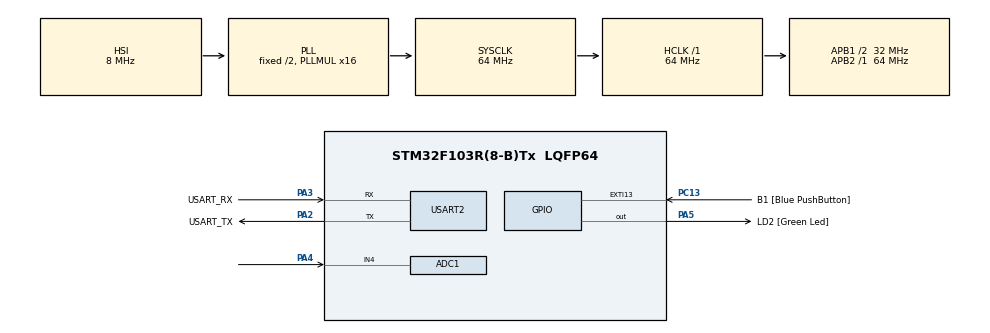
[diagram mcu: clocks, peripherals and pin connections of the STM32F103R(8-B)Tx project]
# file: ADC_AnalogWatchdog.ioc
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ADC1.AWD1HighThreshold=2559
ADC1.AWD1ITMode=ENABLE
ADC1.AWD1LowThreshold=512
ADC1.Channel-0\#ChannelRegularConversion=ADC_CHANNEL_4
ADC1.ContinuousConvMode=DISABLE
ADC1.EnableAnalogWatchDog=true
ADC1.ExternalTrigConv=ADC_EXTERNALTRIGCONV_T3_TRGO
ADC1.NbrOfConversionFlag=1
ADC1.Rank-0\#ChannelRegularConversion=1
ADC1.SamplingTime-0\#ChannelRegularConversion=ADC_SAMPLETIME_41CYCLES_5
ADC1.WatchdogMode=ADC_ANALOGWATCHDOG_ALL_REG
ADC1.master=1
Dma.ADC1.0.Direction=DMA_PERIPH_TO_MEMORY
Dma.ADC1.0.Instance=DMA1_Channel1
Dma.ADC1.0.MemDataAlignment=DMA_MDATAALIGN_HALFWORD
Dma.ADC1.0.MemInc=DMA_MINC_ENABLE
Dma.ADC1.0.Mode=DMA_CIRCULAR
Dma.ADC1.0.PeriphDataAlignment=DMA_PDATAALIGN_HALFWORD
Dma.ADC1.0.PeriphInc=DMA_PINC_DISABLE
Dma.ADC1.0.Priority=DMA_PRIORITY_HIGH
Dma.Request0=ADC1
Mcu.Family=STM32F1
Mcu.Name=STM32F103R(8-B)Tx
Mcu.Package=LQFP64
NVIC.ADC1_2_IRQn=true\:0\:0\:false\:false\:true\:true\:true\:true
NVIC.DMA1_Channel1_IRQn=true\:1\:0\:true\:false\:true\:false\:true\:true
NVIC.EXTI15_10_IRQn=true\:15\:0\:true\:false\:true\:true\:true\:true
NVIC.PriorityGroup=NVIC_PRIORITYGROUP_4
PA13.GPIO_Label=TMS
PA13.Mode=Serial_Wire
PA13.Signal=SYS_JTMS-SWDIO
PA14.GPIO_Label=TCK
PA14.Mode=Serial_Wire
PA14.Signal=SYS_JTCK-SWCLK
PA2.GPIO_Label=USART_TX
PA2.GPIO_Mode=GPIO_MODE_AF_PP
PA2.GPIO_PuPd=GPIO_NOPULL
PA2.GPIO_Speed=GPIO_SPEED_FREQ_LOW
PA2.Mode=Asynchronous
PA2.Signal=USART2_TX
PA3.GPIO_Label=USART_RX
PA3.GPIO_Mode=GPIO_MODE_AF_PP
PA3.GPIO_PuPd=GPIO_NOPULL
PA3.GPIO_Speed=GPIO_SPEED_FREQ_LOW
PA3.Mode=Asynchronous
PA3.Signal=USART2_RX
PA4.Signal=ADCx_IN4
PA5.GPIO_Label=LD2 [Green Led]
PA5.GPIO_ModeDefaultOutputPP=GPIO_MODE_OUTPUT_PP
PA5.GPIO_PuPd=GPIO_NOPULL
PA5.GPIO_Speed=GPIO_SPEED_FREQ_LOW
PA5.Signal=GPIO_Output
PB3.GPIO_Label=SWO
PB3.Signal=SYS_JTDO-TRACESWO
PC13-TAMPER-RTC.GPIO_Label=B1 [Blue PushButton]
PC13-TAMPER-RTC.GPIO_ModeDefaultEXTI=GPIO_MODE_IT_FALLING
PC13-TAMPER-RTC.GPIO_PuPd=GPIO_NOPULL
PC13-TAMPER-RTC.Signal=GPXTI13
PC14-OSC32_IN.Mode=LSE-External-Oscillator
PC14-OSC32_IN.Signal=RCC_OSC32_IN
PC15-OSC32_OUT.Mode=LSE-External-Oscillator
PC15-OSC32_OUT.Signal=RCC_OSC32_OUT
PD0-OSC_IN.Mode=HSE-External-Clock-Source
PD0-OSC_IN.Signal=RCC_OSC_IN
PD1-OSC_OUT.Mode=HSE-External-Clock-Source
PD1-OSC_OUT.Signal=RCC_OSC_OUT
ProjectManager.HeapSize=0x200
ProjectManager.StackSize=0x400
ProjectManager.TargetToolchain=STM32CubeIDE
RCC.ADCPresc=RCC_ADCPCLK2_DIV8
RCC.AHBFreq_Value=64000000
RCC.APB1CLKDivider=RCC_HCLK_DIV2
RCC.APB1Freq_Value=32000000
RCC.APB1TimFreq_Value=64000000
RCC.APB2Freq_Value=64000000
RCC.APB2TimFreq_Value=64000000
RCC.HCLKFreq_Value=64000000
RCC.PLLMUL=RCC_PLL_MUL16
RCC.RTCClockSelection=RCC_RTCCLKSOURCE_LSE
RCC.SYSCLKFreq_VALUE=64000000
RCC.SYSCLKSource=RCC_SYSCLKSOURCE_PLLCLK
RCC.USBFreq_Value=64000000
SH.ADCx_IN4.0=ADC1_IN4,IN4
TIM3.Period=999
TIM3.Prescaler=63
TIM3.TIM_MasterOutputTrigger=TIM_TRGO_UPDATE
TIM3.TIM_MasterSlaveMode=TIM_MASTERSLAVEMODE_DISABLE
USART2.VirtualMode=VM_ASYNC
VP_TIM3_VS_ClockSourceINT.Mode=Internal
board=NUCLEO-F103RB

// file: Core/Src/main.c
/* USER CODE BEGIN Header */
/**
  ******************************************************************************
  * @file           : main.c
  * @brief          : Main program body
  ******************************************************************************
  * @attention
  *
  * Copyright (c) 2022 STMicroelectronics.
  * All rights reserved.
  *
  * This software is licensed under terms that can be found in the LICENSE file
  * in the root directory of this software component.
  * If no LICENSE file comes with this software, it is provided AS-IS.
  *
  ******************************************************************************
  */
/* USER CODE END Header */
#include "main.h"

/* USER CODE BEGIN Includes */
#include <stdio.h>
/* USER CODE END Includes */

/* USER CODE BEGIN PD */
#define RANGE_12BITS                   ((uint32_t) 4095)    /* Max value with a full range of 12 bits */
#define USERBUTTON_CLICK_COUNT_MAX     ((uint32_t)    4)    /* Maximum value of variable "UserButtonClickCount" */

#define ADCCONVERTEDVALUES_BUFFER_SIZE ((uint32_t) 256)     /* Size of array containing ADC converted values */

#define TIMER_FREQUENCY                ((uint32_t) 1000)    /* Timer frequency (unit: Hz). With a timer 16 bits and time base freq min 1Hz, range is min=1Hz, max=32kHz. */
#define TIMER_FREQUENCY_RANGE_MIN      ((uint32_t)    1)    /* Timer minimum frequency (unit: Hz). With a timer 16 bits, maximum frequency will be 32000 times this value. */
#define TIMER_PRESCALER_MAX_VALUE      (0xFFFF-1)           /* Timer prescaler maximum value (0xFFFF for a timer 16 bits) */
/* USER CODE END PD */

ADC_HandleTypeDef hadc1;
DMA_HandleTypeDef hdma_adc1;

TIM_HandleTypeDef htim3;

UART_HandleTypeDef huart2;

/* USER CODE BEGIN PV */
/* Note: This example, on some other STM32 boards, is performing              */
/*       DAC handler declaration here.                                        */
/*       On STM32F103RB-Nucleo, the device has no DAC available,              */
/*       therefore analog signal must be supplied externally.                 */

/* Variable containing ADC conversions results */
__IO uint16_t   aADCxConvertedValues[ADCCONVERTEDVALUES_BUFFER_SIZE];

/* Variable to report ADC analog watchdog status:   */
/*   RESET <=> voltage into AWD window   */
/*   SET   <=> voltage out of AWD window */
uint8_t         ubAnalogWatchdogStatus = RESET;  /* Set into analog watchdog interrupt callback */

/* Variables to manage push button on board: interface between ExtLine interruption and main program */
__IO uint8_t    ubUserButtonClickEvent = RESET;  /* Event detection: Set after User Button interrupt */

/* USER CODE END PV */

void SystemClock_Config(void);
static void MX_GPIO_Init(void);
static void MX_DMA_Init(void);
static void MX_USART2_UART_Init(void);
static void MX_ADC1_Init(void);
static void MX_TIM3_Init(void);

/* USER CODE BEGIN 0 */
#ifdef __GNUC__
#define PUTCHAR_PROTOTYPE int __io_putchar(int ch)
#else
#define PUTCHAR_PROTOTYPE int fputc(int ch, FILE *f)
#endif /* __GNUC__ */

/**
* @brief  Retargets the C library printf function to the USART.
* @param  None
* @retval None
*/
PUTCHAR_PROTOTYPE
{
  /* Place your implementation of fputc here */
  /* e.g. write a character to the UART2 and Loop until the end of transmission */
  if (ch == '\n')
    HAL_UART_Transmit (&huart2, (uint8_t *) "\r", 1, 0xFFFF);

  HAL_UART_Transmit (&huart2, (uint8_t *) & ch, 1, 0xFFFF);

  return ch;
}
/* USER CODE END 0 */

int main(void)
{

  /* MCU Configuration--------------------------------------------------------*/

  /* Reset of all peripherals, Initializes the Flash interface and the Systick. */
  HAL_Init();

  /* Configure the system clock */
  SystemClock_Config();

  /* Initialize all configured peripherals */
  MX_GPIO_Init();
  MX_DMA_Init();
  MX_USART2_UART_Init();
  MX_ADC1_Init();
  MX_TIM3_Init();
  /* USER CODE BEGIN 2 */
  /* Run the ADC calibration */
  if (HAL_ADCEx_Calibration_Start(&hadc1) != HAL_OK)
  {
    /* Calibration Error */
    Error_Handler();
  }

  /* Timer enable */
  if (HAL_TIM_Base_Start(&htim3) != HAL_OK)
  {
    /* Counter Enable Error */
    Error_Handler();
  }

  /* Note: This example, on some other STM32 boards, is performing            */
  /*       DAC signal generation here.                                        */
  /*       On STM32F103RB-Nucleo, the device has no DAC available,            */
  /*       therefore analog signal must be supplied externally.               */

  /*## Start ADC conversions #################################################*/

  /* Start ADC conversion on regular group with transfer by DMA */
  if (HAL_ADC_Start_DMA(&hadc1,
                        (uint32_t *)aADCxConvertedValues,
                        ADCCONVERTEDVALUES_BUFFER_SIZE
  ) != HAL_OK)
  {
    /* Start Error */
    Error_Handler();
  }

  /* USER CODE END 2 */

  /* Infinite loop */
  /* USER CODE BEGIN WHILE */
  while (1)
  {
    /* Turn-on/off LED2 in function of ADC conversion result */
    /*  - Turn-off if voltage is into AWD window */
    /*  - Turn-on if voltage is out of AWD window */

    /* Variable of analog watchdog status is set into analog watchdog         */
    /* interrupt callback                                                     */
    if (ubAnalogWatchdogStatus == RESET)
    {
      HAL_GPIO_WritePin(LD2_GPIO_Port, LD2_Pin, GPIO_PIN_RESET);
    }
    else
    {
      HAL_GPIO_WritePin(LD2_GPIO_Port, LD2_Pin, GPIO_PIN_SET);

      printf("ADC=%d\n", HAL_ADC_GetValue(&hadc1));
      /* Reset analog watchdog status for next loop iteration */
      ubAnalogWatchdogStatus = RESET;
    }

    /* For information: ADC conversion results are stored into array          */
    /* "aADCxConvertedValues" (for debug: check into watch window)            */

    /* Wait for event on push button to perform following actions */
    while ((ubUserButtonClickEvent) == RESET)
    {
    }
    /* Reset variable for next loop iteration */
    ubUserButtonClickEvent = RESET;

    printf("ADC=%d\n", HAL_ADC_GetValue(&hadc1));

    /* USER CODE END WHILE */

  }
}

void SystemClock_Config(void)
{
  RCC_OscInitTypeDef RCC_OscInitStruct = {0};
  RCC_ClkInitTypeDef RCC_ClkInitStruct = {0};
  RCC_PeriphCLKInitTypeDef PeriphClkInit = {0};

  /** Initializes the RCC Oscillators according to the specified parameters
  * in the RCC_OscInitTypeDef structure.
  */
  RCC_OscInitStruct.OscillatorType = RCC_OSCILLATORTYPE_HSI;
  RCC_OscInitStruct.HSIState = RCC_HSI_ON;
  RCC_OscInitStruct.HSICalibrationValue = RCC_HSICALIBRATION_DEFAULT;
  RCC_OscInitStruct.PLL.PLLState = RCC_PLL_ON;
  RCC_OscInitStruct.PLL.PLLSource = RCC_PLLSOURCE_HSI_DIV2;
  RCC_OscInitStruct.PLL.PLLMUL = RCC_PLL_MUL16;
  if (HAL_RCC_OscConfig(&RCC_OscInitStruct) != HAL_OK)
  {
    Error_Handler();
  }

  /** Initializes the CPU, AHB and APB buses clocks
  */
  RCC_ClkInitStruct.ClockType = RCC_CLOCKTYPE_HCLK|RCC_CLOCKTYPE_SYSCLK
                              |RCC_CLOCKTYPE_PCLK1|RCC_CLOCKTYPE_PCLK2;
  RCC_ClkInitStruct.SYSCLKSource = RCC_SYSCLKSOURCE_PLLCLK;
  RCC_ClkInitStruct.AHBCLKDivider = RCC_SYSCLK_DIV1;
  RCC_ClkInitStruct.APB1CLKDivider = RCC_HCLK_DIV2;
  RCC_ClkInitStruct.APB2CLKDivider = RCC_HCLK_DIV1;

  if (HAL_RCC_ClockConfig(&RCC_ClkInitStruct, FLASH_LATENCY_2) != HAL_OK)
  {
    Error_Handler();
  }
  PeriphClkInit.PeriphClockSelection = RCC_PERIPHCLK_ADC;
  PeriphClkInit.AdcClockSelection = RCC_ADCPCLK2_DIV8;
  if (HAL_RCCEx_PeriphCLKConfig(&PeriphClkInit) != HAL_OK)
  {
    Error_Handler();
  }
}

static void MX_ADC1_Init(void)
{

  ADC_AnalogWDGConfTypeDef AnalogWDGConfig = {0};
  ADC_ChannelConfTypeDef sConfig = {0};

  /** Common config
  */
  hadc1.Instance = ADC1;
  hadc1.Init.ScanConvMode = ADC_SCAN_DISABLE;
  hadc1.Init.ContinuousConvMode = DISABLE;
  hadc1.Init.DiscontinuousConvMode = DISABLE;
  hadc1.Init.ExternalTrigConv = ADC_EXTERNALTRIGCONV_T3_TRGO;
  hadc1.Init.DataAlign = ADC_DATAALIGN_RIGHT;
  hadc1.Init.NbrOfConversion = 1;
  if (HAL_ADC_Init(&hadc1) != HAL_OK)
  {
    Error_Handler();
  }

  /** Configure Analog WatchDog 1
  */
  AnalogWDGConfig.WatchdogMode = ADC_ANALOGWATCHDOG_ALL_REG;
  AnalogWDGConfig.HighThreshold = 2559;
  AnalogWDGConfig.LowThreshold = 512;
  AnalogWDGConfig.ITMode = ENABLE;
  if (HAL_ADC_AnalogWDGConfig(&hadc1, &AnalogWDGConfig) != HAL_OK)
  {
    Error_Handler();
  }

  /** Configure Regular Channel
  */
  sConfig.Channel = ADC_CHANNEL_4;
  sConfig.Rank = ADC_REGULAR_RANK_1;
  sConfig.SamplingTime = ADC_SAMPLETIME_41CYCLES_5;
  if (HAL_ADC_ConfigChannel(&hadc1, &sConfig) != HAL_OK)
  {
    Error_Handler();
  }

}

static void MX_TIM3_Init(void)
{

  TIM_ClockConfigTypeDef sClockSourceConfig = {0};
  TIM_MasterConfigTypeDef sMasterConfig = {0};

  htim3.Instance = TIM3;
  htim3.Init.Prescaler = 63;
  htim3.Init.CounterMode = TIM_COUNTERMODE_UP;
  htim3.Init.Period = 999;
  htim3.Init.ClockDivision = TIM_CLOCKDIVISION_DIV1;
  htim3.Init.AutoReloadPreload = TIM_AUTORELOAD_PRELOAD_DISABLE;
  if (HAL_TIM_Base_Init(&htim3) != HAL_OK)
  {
    Error_Handler();
  }
  sClockSourceConfig.ClockSource = TIM_CLOCKSOURCE_INTERNAL;
  if (HAL_TIM_ConfigClockSource(&htim3, &sClockSourceConfig) != HAL_OK)
  {
    Error_Handler();
  }
  sMasterConfig.MasterOutputTrigger = TIM_TRGO_UPDATE;
  sMasterConfig.MasterSlaveMode = TIM_MASTERSLAVEMODE_DISABLE;
  if (HAL_TIMEx_MasterConfigSynchronization(&htim3, &sMasterConfig) != HAL_OK)
  {
    Error_Handler();
  }

}

static void MX_USART2_UART_Init(void)
{

  huart2.Instance = USART2;
  huart2.Init.BaudRate = 115200;
  huart2.Init.WordLength = UART_WORDLENGTH_8B;
  huart2.Init.StopBits = UART_STOPBITS_1;
  huart2.Init.Parity = UART_PARITY_NONE;
  huart2.Init.Mode = UART_MODE_TX_RX;
  huart2.Init.HwFlowCtl = UART_HWCONTROL_NONE;
  huart2.Init.OverSampling = UART_OVERSAMPLING_16;
  if (HAL_UART_Init(&huart2) != HAL_OK)
  {
    Error_Handler();
  }

}

static void MX_DMA_Init(void)
{

  /* DMA controller clock enable */
  __HAL_RCC_DMA1_CLK_ENABLE();

  /* DMA interrupt init */
  /* DMA1_Channel1_IRQn interrupt configuration */
  HAL_NVIC_SetPriority(DMA1_Channel1_IRQn, 1, 0);
  HAL_NVIC_EnableIRQ(DMA1_Channel1_IRQn);

}

static void MX_GPIO_Init(void)
{
  GPIO_InitTypeDef GPIO_InitStruct = {0};

  /* GPIO Ports Clock Enable */
  __HAL_RCC_GPIOC_CLK_ENABLE();
  __HAL_RCC_GPIOD_CLK_ENABLE();
  __HAL_RCC_GPIOA_CLK_ENABLE();
  __HAL_RCC_GPIOB_CLK_ENABLE();

  /*Configure GPIO pin Output Level */
  HAL_GPIO_WritePin(LD2_GPIO_Port, LD2_Pin, GPIO_PIN_RESET);

  /*Configure GPIO pin : B1_Pin */
  GPIO_InitStruct.Pin = B1_Pin;
  GPIO_InitStruct.Mode = GPIO_MODE_IT_FALLING;
  GPIO_InitStruct.Pull = GPIO_NOPULL;
  HAL_GPIO_Init(B1_GPIO_Port, &GPIO_InitStruct);

  /*Configure GPIO pin : LD2_Pin */
  GPIO_InitStruct.Pin = LD2_Pin;
  GPIO_InitStruct.Mode = GPIO_MODE_OUTPUT_PP;
  GPIO_InitStruct.Pull = GPIO_NOPULL;
  GPIO_InitStruct.Speed = GPIO_SPEED_FREQ_LOW;
  HAL_GPIO_Init(LD2_GPIO_Port, &GPIO_InitStruct);

  /* EXTI interrupt init*/
  HAL_NVIC_SetPriority(EXTI15_10_IRQn, 15, 0);
  HAL_NVIC_EnableIRQ(EXTI15_10_IRQn);

}

/* USER CODE BEGIN 4 */
/**
  * @brief EXTI line detection callbacks
  * @param GPIO_Pin: Specifies the pins connected EXTI line
  * @retval None
  */
void HAL_GPIO_EXTI_Callback(uint16_t GPIO_Pin)
{
  if (GPIO_Pin == B1_Pin)
  {
    /* Set variable to report push button event to main program */
    ubUserButtonClickEvent = SET;
  }
}

/**
  * @brief  Conversion complete callback in non blocking mode
  * @param  AdcHandle : AdcHandle handle
  * @note   This example shows a simple way to report end of conversion
  *         and get conversion result. You can add your own implementation.
  * @retval None
  */
void HAL_ADC_ConvCpltCallback(ADC_HandleTypeDef *AdcHandle)
{

}

/**
  * @brief  Conversion DMA half-transfer callback in non blocking mode
  * @param  hadc: ADC handle
  * @retval None
  */
void HAL_ADC_ConvHalfCpltCallback(ADC_HandleTypeDef* hadc)
{

}

/**
  * @brief  Analog watchdog callback in non blocking mode.
  * @param  hadc: ADC handle
  * @retval None
  */
  void HAL_ADC_LevelOutOfWindowCallback(ADC_HandleTypeDef* hadc)
{
  /* Set variable to report analog watchdog out of window status to main      */
  /* program.                                                                 */
  ubAnalogWatchdogStatus = SET;
}

/**
  * @brief  ADC error callback in non blocking mode
  *        (ADC conversion with interruption or transfer by DMA)
  * @param  hadc: ADC handle
  * @retval None
  */
void HAL_ADC_ErrorCallback(ADC_HandleTypeDef *hadc)
{
  /* In case of ADC error, call main error handler */
  Error_Handler();
}

/* USER CODE END 4 */

void Error_Handler(void)
{
  __disable_irq();
  while (1)
  {
  }
}
